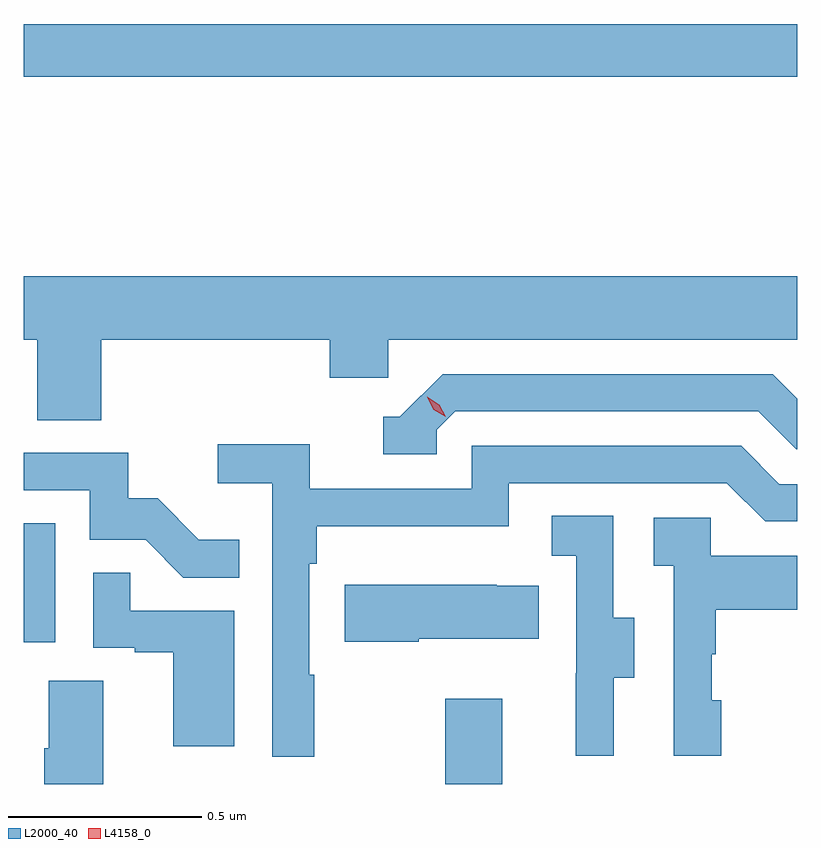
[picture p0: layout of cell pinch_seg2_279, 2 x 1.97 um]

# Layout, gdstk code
import gdstk
lib = gdstk.Library(unit=1e-6, precision=1e-09)
def R(c, l, rs):  # rectangles x0, y0, x1, y1
    for r in rs: c.add(gdstk.rectangle(r[:2], r[2:], *l))
def P(c, l, *ps):  # polygons
    for p in ps: c.add(gdstk.Polygon(p, *l))
L2000_40 = (2000, 40)
L4158_0 = (4158, 0)

pinch_seg2_279 = lib.new_cell('pinch_seg2_279')
R(pinch_seg2_279, L2000_40, [(906.862,646.487,907.009,646.708), (905.772,646.854,905.854,647.161), (905.772,648.316,907.772,648.452)])
P(pinch_seg2_279, L2000_40, [(905.972,647.636),(906.563,647.636),(906.563,647.538),(906.714,647.538),(906.714,647.636),(907.772,647.636),(907.772,647.8),(905.772,647.8),(905.772,647.636),(905.807,647.636),(905.807,647.428),(905.972,647.428)],
  [(906.84,647.403),(906.888,647.451),(907.671,647.451),(907.77,647.352),(907.772,647.352),(907.772,647.483),(907.708,647.547),(906.855,647.547),(906.744,647.436),(906.701,647.436),(906.701,647.34),(906.84,647.34)],
  [(906.523,646.769),(906.51,646.769),(906.51,647.057),(906.53,647.057),(906.53,647.153),(907.026,647.153),(907.026,647.265),(907.59,647.265),(907.689,647.166),(907.772,647.166),(907.772,647.262),(907.726,647.262),(907.627,647.361),(906.93,647.361),(906.93,647.25),(906.512,647.25),(906.512,647.366),(906.273,647.366),(906.273,647.264),(906.414,647.264),(906.414,646.557),(906.523,646.557)],
  [(906.329,647.119),(906.225,647.119),(906.118,647.226),(906.042,647.226),(906.042,647.343),(905.772,647.343),(905.772,647.247),(905.943,647.247),(905.943,647.118),(906.087,647.118),(906.185,647.02),(906.329,647.02)],
  [(907.297,646.762),(907.351,646.762),(907.351,646.917),(907.296,646.917),(907.296,647.18),(907.137,647.18),(907.137,647.077),(907.2,647.077),(907.2,646.773),(907.199,646.773),(907.199,646.56),(907.297,646.56)],
  [(907.576,646.704),(907.551,646.704),(907.551,646.823),(907.561,646.823),(907.561,646.937),(907.772,646.937),(907.772,647.077),(907.548,647.077),(907.548,647.175),(907.401,647.175),(907.401,647.051),(907.452,647.051),(907.452,646.56),(907.576,646.56)],
  [(906.316,646.935),(906.047,646.935),(906.047,647.033),(905.952,647.033),(905.952,646.839),(906.059,646.839),(906.059,646.827),(906.158,646.827),(906.158,646.584),(906.316,646.584)],
  [(906.793,646.862),(907.103,646.862),(907.103,646.999),(906.995,646.999),(906.995,647.002),(906.602,647.002),(906.602,646.855),(906.793,646.855)],
  [(905.977,646.754),(905.837,646.754),(905.837,646.58),(905.825,646.58),(905.825,646.487),(905.977,646.487)])
P(pinch_seg2_279, L4158_0, [(906.863,647.436),(906.832,647.455),(906.815,647.487),(906.815,647.488),(906.815,647.488),(906.846,647.468),(906.863,647.436),(906.863,647.436)])

lib.write_gds('pinch_seg2_279.gds')
